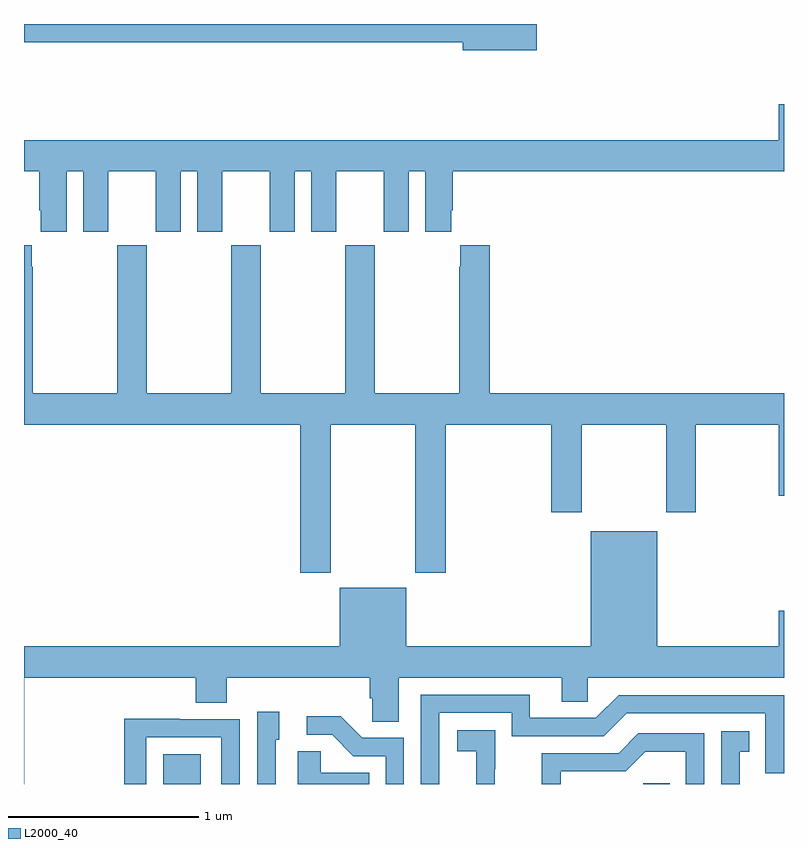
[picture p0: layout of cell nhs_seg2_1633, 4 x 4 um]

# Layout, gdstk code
import gdstk
lib = gdstk.Library(unit=1e-6, precision=1e-09)
def R(c, l, rs):  # rectangles x0, y0, x1, y1
    for r in rs: c.add(gdstk.rectangle(r[:2], r[2:], *l))
def P(c, l, *ps):  # polygons
    for p in ps: c.add(gdstk.Polygon(p, *l))
L2000_40 = (2000, 40)

nhs_seg2_1633 = lib.new_cell('nhs_seg2_1633')
R(nhs_seg2_1633, L2000_40, [(197.732,589.8,197.929,589.957), (200.259,589.8,200.399,589.803)])
P(nhs_seg2_1633, L2000_40, [(199.699,593.8),(197,593.8),(197,593.704),(199.31,593.704),(199.31,593.662),(199.699,593.662)],
  [(197,593.024),(197.081,593.024),(197.081,592.819),(197.087,592.819),(197.087,592.707),(197.224,592.707),(197.224,593.024),(197.312,593.024),(197.312,592.707),(197.443,592.707),(197.443,593.024),(197.693,593.024),(197.693,592.707),(197.824,592.707),(197.824,593.024),(197.912,593.024),(197.912,592.707),(198.043,592.707),(198.043,593.024),(198.293,593.024),(198.293,592.707),(198.424,592.707),(198.424,593.024),(198.512,593.024),(198.512,592.707),(198.643,592.707),(198.643,593.024),(198.893,593.024),(198.893,592.707),(199.024,592.707),(199.024,593.024),(199.112,593.024),(199.112,592.707),(199.249,592.707),(199.249,592.819),(199.256,592.819),(199.256,593.024),(201,593.024),(201,593.377),(200.972,593.377),(200.972,593.188),(197,593.188)],
  [(198.846,592.636),(198.691,592.636),(198.691,591.856),(198.246,591.856),(198.246,592.636),(198.091,592.636),(198.091,591.856),(197.646,591.856),(197.646,592.636),(197.491,592.636),(197.491,591.856),(197.046,591.856),(197.046,592.523),(197.041,592.523),(197.041,592.636),(197,592.636),(197,591.692),(198.455,591.692),(198.455,590.913),(198.615,590.913),(198.615,591.692),(199.06,591.692),(199.06,590.913),(199.22,590.913),(199.22,591.692),(199.775,591.692),(199.775,591.231),(199.935,591.231),(199.935,591.692),(200.38,591.692),(200.38,591.231),(200.535,591.231),(200.535,591.692),(200.972,591.692),(200.972,591.318),(201,591.318),(201,591.856),(199.451,591.856),(199.451,592.636),(199.295,592.636),(199.295,592.523),(199.291,592.523),(199.291,591.856),(198.846,591.856)],
  [(201,590.713),(200.972,590.713),(200.972,590.524),(200.332,590.524),(200.332,591.13),(199.982,591.13),(199.982,590.524),(199.012,590.524),(199.012,590.833),(198.662,590.833),(198.662,590.524),(197,590.524),(197,589.8),(197.002,589.8),(197.002,590.36),(197.903,590.36),(197.903,590.227),(198.068,590.227),(198.068,590.36),(198.821,590.36),(198.821,590.251),(198.834,590.251),(198.834,590.128),(198.973,590.128),(198.973,590.36),(199.829,590.36),(199.829,590.233),(199.968,590.233),(199.968,590.36),(201,590.36)],
  [(199.185,590.175),(199.566,590.175),(199.566,590.052),(200.052,590.052),(200.172,590.172),(200.901,590.172),(200.901,589.857),(201,589.857),(201,590.268),(200.13,590.268),(200.01,590.148),(199.663,590.148),(199.663,590.271),(199.089,590.271),(199.089,589.8),(199.185,589.8)],
  [(198.324,590.034),(198.343,590.034),(198.343,590.179),(198.228,590.179),(198.228,589.8),(198.324,589.8)],
  [(198.999,590.043),(198.78,590.043),(198.667,590.156),(198.489,590.156),(198.489,590.058),(198.623,590.058),(198.734,589.947),(198.903,589.947),(198.903,589.8),(198.999,589.8)],
  [(197.643,590.046),(198.039,590.046),(198.039,589.8),(198.135,589.8),(198.135,590.142),(197.819,590.142),(197.819,590.144),(197.527,590.144),(197.527,589.8),(197.643,589.8)],
  [(199.478,589.877),(199.479,589.877),(199.479,590.083),(199.281,590.083),(199.281,589.973),(199.379,589.973),(199.379,589.8),(199.478,589.8)],
  [(200.767,589.971),(200.816,589.971),(200.816,590.077),(200.67,590.077),(200.67,589.8),(200.767,589.8)],
  [(199.824,589.866),(200.166,589.866),(200.27,589.97),(200.484,589.97),(200.484,589.8),(200.58,589.8),(200.58,590.067),(200.234,590.067),(200.129,589.962),(199.726,589.962),(199.726,589.8),(199.824,589.8)],
  [(198.818,589.858),(198.561,589.858),(198.561,589.973),(198.44,589.973),(198.44,589.8),(198.818,589.8)])

lib.write_gds('nhs_seg2_1633.gds')
